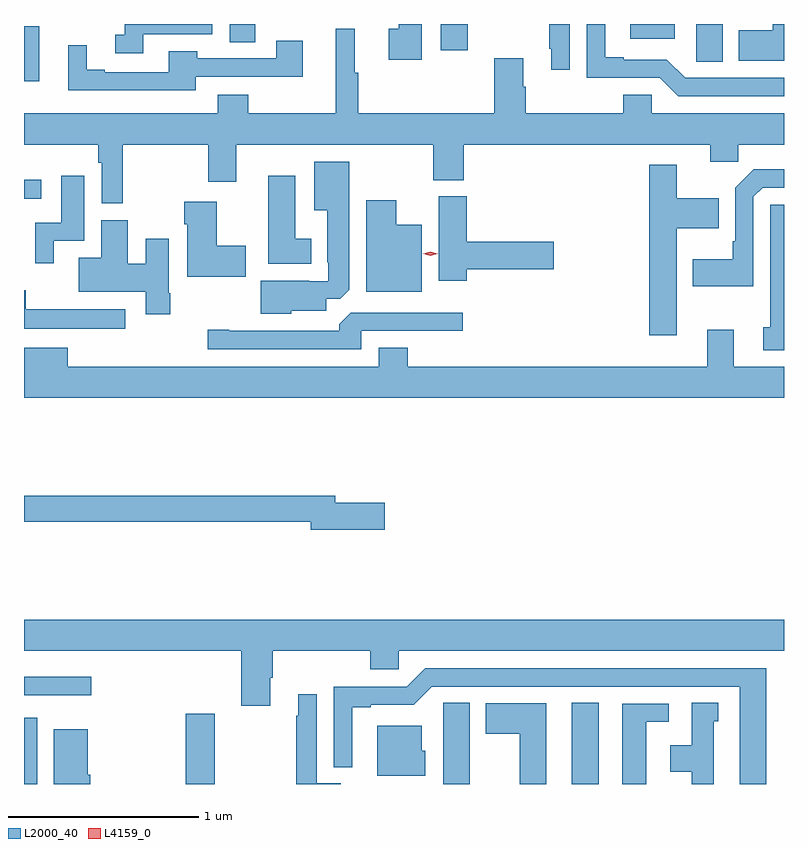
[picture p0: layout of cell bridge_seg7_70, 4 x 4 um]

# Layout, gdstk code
import gdstk
lib = gdstk.Library(unit=1e-6, precision=1e-09)
def R(c, l, rs):  # rectangles x0, y0, x1, y1
    for r in rs: c.add(gdstk.rectangle(r[:2], r[2:], *l))
def P(c, l, *ps):  # polygons
    for p in ps: c.add(gdstk.Polygon(p, *l))
L2000_40 = (2000, 40)
L4159_0 = (4159, 0)

bridge_seg7_70 = lib.new_cell('bridge_seg7_70')
R(bridge_seg7_70, L2000_40, [(1053.832,1022.559,1053.901,1022.908), (1054.682,1022.559,1054.836,1022.929), (1056.716,1022.559,1056.856,1022.987), (1053.832,1023.027,1054.186,1023.124), (1053.832,1025.64,1053.922,1025.738), (1053.832,1026.257,1053.913,1026.547), (1056.026,1026.42,1056.168,1026.559), (1054.916,1026.463,1055.05,1026.559), (1057.022,1026.482,1057.258,1026.559)])
P(bridge_seg7_70, L2000_40, [(1055.926,1026.559),(1055.804,1026.559),(1055.804,1026.534),(1055.753,1026.534),(1055.753,1026.371),(1055.926,1026.371)],
  [(1057.51,1026.559),(1057.37,1026.559),(1057.37,1026.472),(1057.371,1026.472),(1057.371,1026.361),(1057.51,1026.361)],
  [(1057.832,1026.276),(1057.311,1026.276),(1057.215,1026.372),(1056.988,1026.372),(1056.988,1026.385),(1056.892,1026.385),(1056.892,1026.559),(1056.795,1026.559),(1056.795,1026.276),(1057.179,1026.276),(1057.275,1026.18),(1057.832,1026.18)],
  [(1056.705,1026.559),(1056.597,1026.559),(1056.597,1026.43),(1056.608,1026.43),(1056.608,1026.318),(1056.705,1026.318)],
  [(1057.832,1026.559),(1057.772,1026.559),(1057.772,1026.525),(1057.595,1026.525),(1057.595,1026.365),(1057.832,1026.365)],
  [(1054.459,1026.504),(1054.824,1026.504),(1054.824,1026.559),(1054.362,1026.559),(1054.362,1026.503),(1054.311,1026.503),(1054.311,1026.405),(1054.459,1026.405)],
  [(1054.351,1025.924),(1054.801,1025.924),(1054.801,1025.73),(1054.948,1025.73),(1054.948,1025.924),(1055.986,1025.924),(1055.986,1025.737),(1056.146,1025.737),(1056.146,1025.924),(1057.445,1025.924),(1057.445,1025.834),(1057.592,1025.834),(1057.592,1025.924),(1057.832,1025.924),(1057.832,1026.088),(1057.137,1026.088),(1057.137,1026.186),(1056.986,1026.186),(1056.986,1026.088),(1056.473,1026.088),(1056.473,1026.23),(1056.46,1026.23),(1056.46,1026.379),(1056.308,1026.379),(1056.308,1026.088),(1055.591,1026.088),(1055.591,1026.303),(1055.573,1026.303),(1055.573,1026.535),(1055.474,1026.535),(1055.474,1026.088),(1055.013,1026.088),(1055.013,1026.187),(1054.853,1026.187),(1054.853,1026.088),(1053.832,1026.088),(1053.832,1025.924),(1054.222,1025.924),(1054.222,1025.828),(1054.242,1025.828),(1054.242,1025.616),(1054.351,1025.616)],
  [(1054.735,1026.282),(1055.299,1026.282),(1055.299,1026.472),(1055.159,1026.472),(1055.159,1026.378),(1054.743,1026.378),(1054.743,1026.415),(1054.595,1026.415),(1054.595,1026.306),(1054.258,1026.306),(1054.258,1026.319),(1054.162,1026.319),(1054.162,1026.448),(1054.064,1026.448),(1054.064,1026.21),(1054.735,1026.21)],
  [(1055.238,1025.051),(1055.422,1025.051),(1055.422,1025.112),(1055.496,1025.112),(1055.545,1025.161),(1055.545,1025.833),(1055.36,1025.833),(1055.36,1025.579),(1055.429,1025.579),(1055.429,1025.305),(1055.433,1025.305),(1055.433,1025.205),(1055.333,1025.205),(1055.333,1025.209),(1055.078,1025.209),(1055.078,1025.033),(1055.238,1025.033)],
  [(1057.267,1025.483),(1057.489,1025.483),(1057.489,1025.641),(1057.267,1025.641),(1057.267,1025.818),(1057.124,1025.818),(1057.124,1024.92),(1057.267,1024.92)],
  [(1057.671,1025.649),(1057.719,1025.697),(1057.832,1025.697),(1057.832,1025.794),(1057.672,1025.794),(1057.575,1025.697),(1057.575,1025.416),(1057.563,1025.416),(1057.563,1025.32),(1057.352,1025.32),(1057.352,1025.18),(1057.671,1025.18)],
  [(1055.344,1025.428),(1055.26,1025.428),(1055.26,1025.761),(1055.117,1025.761),(1055.117,1025.297),(1055.344,1025.297)],
  [(1053.988,1025.418),(1054.15,1025.418),(1054.15,1025.761),(1054.028,1025.761),(1054.028,1025.514),(1053.89,1025.514),(1053.89,1025.301),(1053.988,1025.301)],
  [(1056.161,1025.267),(1056.619,1025.267),(1056.619,1025.414),(1056.161,1025.414),(1056.161,1025.652),(1056.014,1025.652),(1056.014,1025.208),(1056.161,1025.208)],
  [(1055.926,1025.503),(1055.791,1025.503),(1055.791,1025.632),(1055.633,1025.632),(1055.633,1025.15),(1055.926,1025.15)],
  [(1054.999,1025.391),(1054.846,1025.391),(1054.846,1025.623),(1054.676,1025.623),(1054.676,1025.505),(1054.691,1025.505),(1054.691,1025.228),(1054.999,1025.228)],
  [(1057.832,1025.607),(1057.76,1025.607),(1057.76,1024.962),(1057.724,1024.962),(1057.724,1024.842),(1057.832,1024.842)],
  [(1054.602,1025.143),(1054.594,1025.143),(1054.594,1025.428),(1054.472,1025.428),(1054.472,1025.297),(1054.378,1025.297),(1054.378,1025.527),(1054.238,1025.527),(1054.238,1025.329),(1054.121,1025.329),(1054.121,1025.15),(1054.472,1025.15),(1054.472,1025.031),(1054.602,1025.031)],
  [(1054.366,1025.059),(1053.841,1025.059),(1053.841,1025.158),(1053.832,1025.158),(1053.832,1024.955),(1054.366,1024.955)],
  [(1055.607,1024.944),(1056.142,1024.944),(1056.142,1025.04),(1055.553,1025.04),(1055.492,1024.978),(1055.492,1024.944),(1054.912,1024.944),(1054.912,1024.949),(1054.8,1024.949),(1054.8,1024.848),(1055.607,1024.848)],
  [(1057.832,1024.756),(1057.567,1024.756),(1057.567,1024.951),(1057.427,1024.951),(1057.427,1024.756),(1055.852,1024.756),(1055.852,1024.855),(1055.699,1024.855),(1055.699,1024.756),(1054.063,1024.756),(1054.063,1024.855),(1053.832,1024.855),(1053.832,1024.592),(1057.832,1024.592)],
  [(1055.731,1024.04),(1055.47,1024.04),(1055.47,1024.076),(1053.832,1024.076),(1053.832,1023.94),(1055.342,1023.94),(1055.342,1023.898),(1055.731,1023.898)],
  [(1055.128,1023.118),(1055.141,1023.118),(1055.141,1023.26),(1055.654,1023.26),(1055.654,1023.162),(1055.805,1023.162),(1055.805,1023.26),(1057.832,1023.26),(1057.832,1023.424),(1053.832,1023.424),(1053.832,1023.26),(1054.976,1023.26),(1054.976,1022.97),(1055.128,1022.97)],
  [(1057.738,1023.168),(1055.943,1023.168),(1055.847,1023.072),(1055.463,1023.072),(1055.463,1022.648),(1055.56,1022.648),(1055.56,1022.964),(1055.656,1022.964),(1055.656,1022.976),(1055.883,1022.976),(1055.979,1023.072),(1057.598,1023.072),(1057.598,1022.559),(1057.738,1022.559)],
  [(1055.5,1022.563),(1055.373,1022.563),(1055.373,1023.031),(1055.276,1023.031),(1055.276,1022.918),(1055.265,1022.918),(1055.265,1022.559),(1055.5,1022.559)],
  [(1057.462,1022.889),(1057.486,1022.889),(1057.486,1022.987),(1057.346,1022.987),(1057.346,1022.764),(1057.232,1022.764),(1057.232,1022.624),(1057.346,1022.624),(1057.346,1022.559),(1057.462,1022.559)],
  [(1056.178,1022.987),(1056.039,1022.987),(1056.039,1022.876),(1056.038,1022.876),(1056.038,1022.559),(1056.178,1022.559)],
  [(1056.58,1022.983),(1056.263,1022.983),(1056.263,1022.824),(1056.44,1022.824),(1056.44,1022.559),(1056.58,1022.559)],
  [(1057.108,1022.886),(1057.225,1022.886),(1057.225,1022.982),(1056.98,1022.982),(1056.98,1022.559),(1057.108,1022.559)],
  [(1055.944,1022.733),(1055.926,1022.733),(1055.926,1022.866),(1055.69,1022.866),(1055.69,1022.603),(1055.944,1022.603)],
  [(1054.181,1022.608),(1054.168,1022.608),(1054.168,1022.848),(1053.989,1022.848),(1053.989,1022.559),(1054.181,1022.559)])
P(bridge_seg7_70, L4159_0, [(1055.971,1025.34),(1055.933,1025.35),(1055.933,1025.35),(1055.933,1025.351),(1055.971,1025.36),(1056.009,1025.35),(1056.009,1025.35),(1056.009,1025.35)])

lib.write_gds('bridge_seg7_70.gds')
